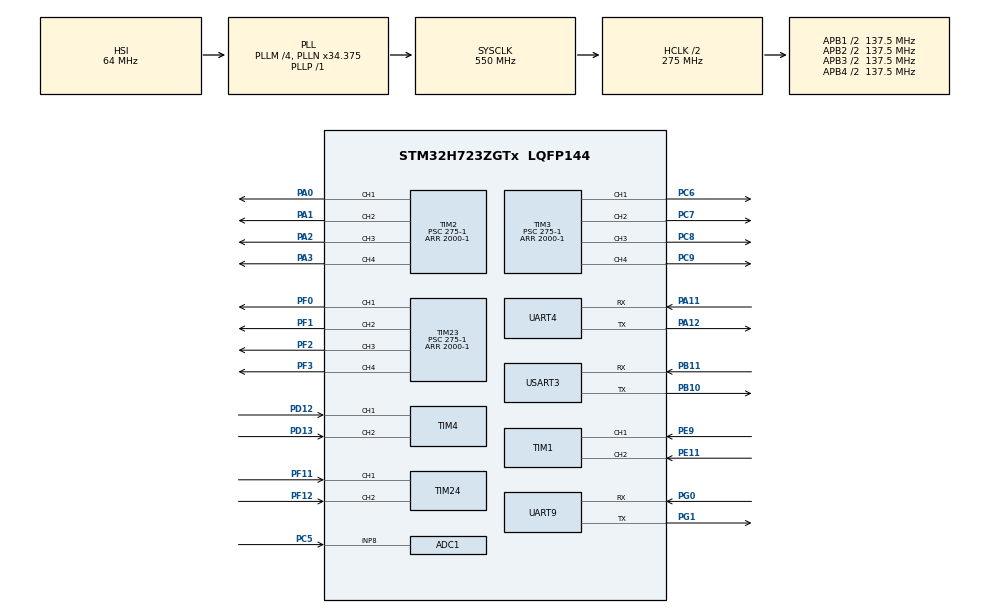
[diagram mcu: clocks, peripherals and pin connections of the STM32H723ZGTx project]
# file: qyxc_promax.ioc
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ADC1.Channel-0\#ChannelRegularConversion=ADC_CHANNEL_8
ADC1.NbrOfConversionFlag=1
ADC1.OffsetNumber-0\#ChannelRegularConversion=ADC_OFFSET_NONE
ADC1.OffsetSignedSaturation-0\#ChannelRegularConversion=DISABLE
ADC1.Rank-0\#ChannelRegularConversion=1
ADC1.SamplingTime-0\#ChannelRegularConversion=ADC_SAMPLETIME_1CYCLE_5
ADC1.master=1
Mcu.Family=STM32H7
Mcu.Name=STM32H723ZGTx
Mcu.Package=LQFP144
NVIC.PriorityGroup=NVIC_PRIORITYGROUP_4
NVIC.TIM5_IRQn=true\:0\:0\:false\:false\:true\:true\:true\:true
NVIC.UART4_IRQn=true\:1\:0\:true\:false\:true\:true\:true\:true
NVIC.UART9_IRQn=true\:1\:0\:true\:false\:true\:true\:true\:true
NVIC.USART3_IRQn=true\:1\:0\:true\:false\:true\:true\:true\:true
PA0.Signal=S_TIM2_CH1_ETR
PA1.Signal=S_TIM2_CH2
PA11.Mode=Asynchronous
PA11.Signal=UART4_RX
PA12.Mode=Asynchronous
PA12.Signal=UART4_TX
PA2.Signal=S_TIM2_CH3
PA3.Signal=S_TIM2_CH4
PB10.Mode=Asynchronous
PB10.Signal=USART3_TX
PB11.Mode=Asynchronous
PB11.Signal=USART3_RX
PC14-OSC32_IN.Mode=LSE-External-Oscillator
PC14-OSC32_IN.Signal=RCC_OSC32_IN
PC15-OSC32_OUT.Mode=LSE-External-Oscillator
PC15-OSC32_OUT.Signal=RCC_OSC32_OUT
PC5.Signal=ADCx_INP8
PC6.Signal=S_TIM3_CH1
PC7.Signal=S_TIM3_CH2
PC8.Signal=S_TIM3_CH3
PC9.Signal=S_TIM3_CH4
PD12.Signal=S_TIM4_CH1
PD13.Signal=S_TIM4_CH2
PE11.Signal=S_TIM1_CH2
PE9.Signal=S_TIM1_CH1
PF0.Mode=PWM Generation1 CH1
PF0.Signal=TIM23_CH1
PF1.Signal=S_TIM23_CH2
PF11.Mode=Encoder_Interface
PF11.Signal=TIM24_CH1
PF12.Signal=S_TIM24_CH2
PF2.Signal=S_TIM23_CH3
PF3.Signal=S_TIM23_CH4
PG0.Mode=Asynchronous
PG0.Signal=UART9_RX
PG1.Mode=Asynchronous
PG1.Signal=UART9_TX
ProjectManager.HeapSize=0x200
ProjectManager.StackSize=0x400
ProjectManager.TargetToolchain=MDK-ARM V5.32
RCC.ADCFreq_Value=129000000
RCC.APB1Freq_Value=137500000
RCC.APB2Freq_Value=137500000
RCC.APB3Freq_Value=137500000
RCC.APB4Freq_Value=137500000
RCC.CortexFreq_Value=550000000
RCC.D1PPRE=RCC_APB3_DIV2
RCC.D2PPRE1=RCC_APB1_DIV2
RCC.D2PPRE2=RCC_APB2_DIV2
RCC.D3PPRE=RCC_APB4_DIV2
RCC.DIVM1=4
RCC.DIVN1=34
RCC.DIVP1=1
RCC.HCLKFreq_Value=275000000
RCC.HPRE=RCC_HCLK_DIV2
RCC.PLL2FRACN=0
RCC.PLL3FRACN=0
RCC.PLLFRACN=3072
RCC.SYSCLKFreq_VALUE=550000000
RCC.SYSCLKSource=RCC_SYSCLKSOURCE_PLLCLK
RCC.USBFreq_Value=275000000
SH.ADCx_INP8.0=ADC1_INP8,IN8-Single-Ended
SH.S_TIM1_CH1.0=TIM1_CH1,Encoder_Interface
SH.S_TIM1_CH2.0=TIM1_CH2,Encoder_Interface
SH.S_TIM23_CH2.0=TIM23_CH2,PWM Generation2 CH2
SH.S_TIM23_CH3.0=TIM23_CH3,PWM Generation3 CH3
SH.S_TIM23_CH4.0=TIM23_CH4,PWM Generation4 CH4
SH.S_TIM24_CH2.0=TIM24_CH2,Encoder_Interface
SH.S_TIM2_CH1_ETR.0=TIM2_CH1,PWM Generation1 CH1
SH.S_TIM2_CH2.0=TIM2_CH2,PWM Generation2 CH2
SH.S_TIM2_CH3.0=TIM2_CH3,PWM Generation3 CH3
SH.S_TIM2_CH4.0=TIM2_CH4,PWM Generation4 CH4
SH.S_TIM3_CH1.0=TIM3_CH1,PWM Generation1 CH1
SH.S_TIM3_CH2.0=TIM3_CH2,PWM Generation2 CH2
SH.S_TIM3_CH3.0=TIM3_CH3,PWM Generation3 CH3
SH.S_TIM3_CH4.0=TIM3_CH4,PWM Generation4 CH4
SH.S_TIM4_CH1.0=TIM4_CH1,Encoder_Interface
SH.S_TIM4_CH2.0=TIM4_CH2,Encoder_Interface
TIM12.Period=10000-1
TIM12.Prescaler=2750-1
TIM2.Channel-PWM\ Generation1\ CH1=TIM_CHANNEL_1
TIM2.Channel-PWM\ Generation2\ CH2=TIM_CHANNEL_2
TIM2.Channel-PWM\ Generation3\ CH3=TIM_CHANNEL_3
TIM2.Channel-PWM\ Generation4\ CH4=TIM_CHANNEL_4
TIM2.Period=2000-1
TIM2.Prescaler=275-1
TIM23.Channel-PWM\ Generation1\ CH1=TIM_CHANNEL_1
TIM23.Channel-PWM\ Generation2\ CH2=TIM_CHANNEL_2
TIM23.Channel-PWM\ Generation3\ CH3=TIM_CHANNEL_3
TIM23.Channel-PWM\ Generation4\ CH4=TIM_CHANNEL_4
TIM23.Period=2000-1
TIM23.Prescaler=275-1
TIM3.Channel-PWM\ Generation1\ CH1=TIM_CHANNEL_1
TIM3.Channel-PWM\ Generation2\ CH2=TIM_CHANNEL_2
TIM3.Channel-PWM\ Generation3\ CH3=TIM_CHANNEL_3
TIM3.Channel-PWM\ Generation4\ CH4=TIM_CHANNEL_4
TIM3.Period=2000-1
TIM3.Prescaler=275-1
TIM5.Period=10000-1
TIM5.Prescaler=2750-1
USART3.VirtualMode-Asynchronous=VM_ASYNC
VP_MEMORYMAP_VS_MEMORYMAP.Mode=CurAppReg
VP_TIM12_VS_ClockSourceINT.Mode=Internal
VP_TIM5_VS_ClockSourceINT.Mode=Internal
VP_TIM8_VS_ClockSourceINT.Mode=Internal
board=custom

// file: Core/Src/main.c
/* USER CODE BEGIN Header */
/**
  ******************************************************************************
  * @file           : main.c
  * @brief          : Main program body
  ******************************************************************************
  * @attention
  *
  * Copyright (c) 2024 STMicroelectronics.
  * All rights reserved.
  *
  * This software is licensed under terms that can be found in the LICENSE file
  * in the root directory of this software component.
  * If no LICENSE file comes with this software, it is provided AS-IS.
  *
  ******************************************************************************
  */
/* USER CODE END Header */
#include "main.h"
#include "adc.h"
#include "memorymap.h"
#include "tim.h"
#include "usart.h"
#include "gpio.h"

/* USER CODE BEGIN Includes */
#include "pid.h"
#include "motor.h"
#include "esp8266.h"
#include "onenet.h"
#include "ctrl.h"
#include <stdint.h>
/* USER CODE END Includes */

/* USER CODE BEGIN PTD */
extern unsigned char esp8266_buf[512];
extern unsigned char data[2];
extern int i;
extern unsigned char esp8266_data[2];

int qyvalue;

uint8_t detect[1];
/* USER CODE END PTD */

/* USER CODE BEGIN PM */
void HAL_TIM_PeriodElapsedCallback(TIM_HandleTypeDef *htim)
{

    if (htim == (&htim5))
    {
	  AutoReloadCallback();

    }
}
/* USER CODE END PM */

/* USER CODE BEGIN PV */
void hardware_init()
{
	HAL_TIM_Encoder_Start(&htim1, TIM_CHANNEL_ALL);//打开定时器的encoder模式
	HAL_TIM_Encoder_Start(&htim4, TIM_CHANNEL_ALL);//打开定时器的encoder模式
	HAL_TIM_Encoder_Start(&htim24, TIM_CHANNEL_ALL);//打开定时器的encoder模式

	HAL_TIM_Base_Start_IT(&htim5);
	HAL_UART_Receive_IT(&huart9, &esp8266_data[0], 1);

	motor_init();

		unsigned short timeCount = 0;	//发送间隔变量
		unsigned char *dataPtr = NULL;
		qyflag=0;
	sport_Flag=0;
//
//		ESP8266_Init();//stuck
//

//	HAL_UART_Printf(USART_DEBUG, "Connect MQTT Server Success\r\n");
//
//	while(OneNet_DevLink())			//接入OneNET
//		HAL_Delay(500);
//				OneNET_Subscribe();

}
/* USER CODE END PV */

void SystemClock_Config(void);

int main(void)
{

  /* MCU Configuration--------------------------------------------------------*/

  /* Reset of all peripherals, Initializes the Flash interface and the Systick. */
  HAL_Init();

  /* Configure the system clock */
  SystemClock_Config();

  /* Initialize all configured peripherals */
  MX_GPIO_Init();
  MX_ADC1_Init();
  MX_TIM1_Init();
  MX_TIM2_Init();
  MX_TIM3_Init();
  MX_TIM4_Init();
  MX_TIM8_Init();
  MX_TIM12_Init();
  MX_TIM23_Init();
  MX_TIM24_Init();
  MX_UART4_Init();
  MX_UART9_Init();
  MX_USART3_UART_Init();
  MX_TIM5_Init();
  /* USER CODE BEGIN 2 */

  hardware_init();
	R_target_val=250;
  L_target_val=150;
	pid.target_val=200;

	HAL_UART_Printf(&huart3 , "111111111");

  /* USER CODE END 2 */

  /* Infinite loop */
  /* USER CODE BEGIN WHILE */
  while (1)
  {
//	float a = Read_Encoder(4);
//  float b = Read_Encoder(1);
//	float c = Read_Encoder(24);

//
//	HAL_UART_Printf(&huart3 , "222:    %f     %f      %f\r\n",a,b,c);

		HAL_Delay(100);
    /* USER CODE END WHILE */

  }
}

void SystemClock_Config(void)
{
  RCC_OscInitTypeDef RCC_OscInitStruct = {0};
  RCC_ClkInitTypeDef RCC_ClkInitStruct = {0};

  /** Supply configuration update enable
  */
  HAL_PWREx_ConfigSupply(PWR_LDO_SUPPLY);

  /** Configure the main internal regulator output voltage
  */
  __HAL_PWR_VOLTAGESCALING_CONFIG(PWR_REGULATOR_VOLTAGE_SCALE0);

  while(!__HAL_PWR_GET_FLAG(PWR_FLAG_VOSRDY)) {}

  /** Initializes the RCC Oscillators according to the specified parameters
  * in the RCC_OscInitTypeDef structure.
  */
  RCC_OscInitStruct.OscillatorType = RCC_OSCILLATORTYPE_HSI;
  RCC_OscInitStruct.HSIState = RCC_HSI_DIV1;
  RCC_OscInitStruct.HSICalibrationValue = 64;
  RCC_OscInitStruct.PLL.PLLState = RCC_PLL_ON;
  RCC_OscInitStruct.PLL.PLLSource = RCC_PLLSOURCE_HSI;
  RCC_OscInitStruct.PLL.PLLM = 4;
  RCC_OscInitStruct.PLL.PLLN = 34;
  RCC_OscInitStruct.PLL.PLLP = 1;
  RCC_OscInitStruct.PLL.PLLQ = 2;
  RCC_OscInitStruct.PLL.PLLR = 2;
  RCC_OscInitStruct.PLL.PLLRGE = RCC_PLL1VCIRANGE_3;
  RCC_OscInitStruct.PLL.PLLVCOSEL = RCC_PLL1VCOWIDE;
  RCC_OscInitStruct.PLL.PLLFRACN = 3072;
  if (HAL_RCC_OscConfig(&RCC_OscInitStruct) != HAL_OK)
  {
    Error_Handler();
  }

  /** Initializes the CPU, AHB and APB buses clocks
  */
  RCC_ClkInitStruct.ClockType = RCC_CLOCKTYPE_HCLK|RCC_CLOCKTYPE_SYSCLK
                              |RCC_CLOCKTYPE_PCLK1|RCC_CLOCKTYPE_PCLK2
                              |RCC_CLOCKTYPE_D3PCLK1|RCC_CLOCKTYPE_D1PCLK1;
  RCC_ClkInitStruct.SYSCLKSource = RCC_SYSCLKSOURCE_PLLCLK;
  RCC_ClkInitStruct.SYSCLKDivider = RCC_SYSCLK_DIV1;
  RCC_ClkInitStruct.AHBCLKDivider = RCC_HCLK_DIV2;
  RCC_ClkInitStruct.APB3CLKDivider = RCC_APB3_DIV2;
  RCC_ClkInitStruct.APB1CLKDivider = RCC_APB1_DIV2;
  RCC_ClkInitStruct.APB2CLKDivider = RCC_APB2_DIV2;
  RCC_ClkInitStruct.APB4CLKDivider = RCC_APB4_DIV2;

  if (HAL_RCC_ClockConfig(&RCC_ClkInitStruct, FLASH_LATENCY_3) != HAL_OK)
  {
    Error_Handler();
  }
}

void Error_Handler(void)
{
  __disable_irq();
  while (1)
  {
  }
}
